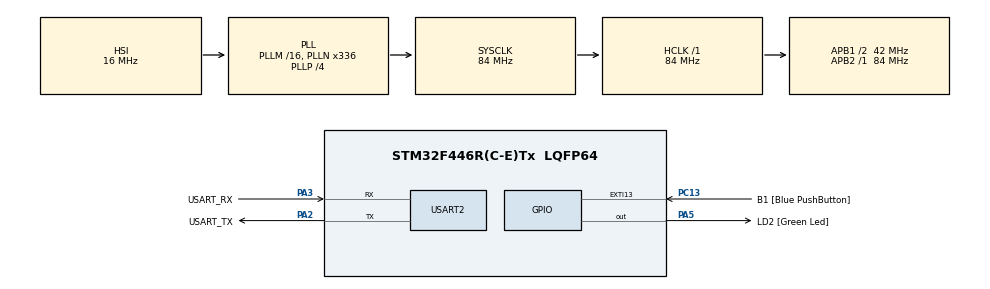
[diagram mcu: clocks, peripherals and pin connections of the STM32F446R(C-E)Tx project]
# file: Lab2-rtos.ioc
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ADC1.Channel-0\#ChannelRegularConversion=ADC_CHANNEL_TEMPSENSOR
ADC1.Channel-1\#ChannelRegularConversion=ADC_CHANNEL_TEMPSENSOR
ADC1.ClockPrescaler=ADC_CLOCK_SYNC_PCLK_DIV8
ADC1.ContinuousConvMode=ENABLE
ADC1.DMAContinuousRequests=ENABLE
ADC1.NbrOfConversion=2
ADC1.NbrOfConversionFlag=1
ADC1.Rank-0\#ChannelRegularConversion=1
ADC1.Rank-1\#ChannelRegularConversion=2
ADC1.SamplingTime-0\#ChannelRegularConversion=ADC_SAMPLETIME_480CYCLES
ADC1.SamplingTime-1\#ChannelRegularConversion=ADC_SAMPLETIME_480CYCLES
ADC1.ScanConvMode=ENABLE
ADC1.master=1
Dma.ADC1.0.Direction=DMA_PERIPH_TO_MEMORY
Dma.ADC1.0.FIFOMode=DMA_FIFOMODE_DISABLE
Dma.ADC1.0.Instance=DMA2_Stream0
Dma.ADC1.0.MemDataAlignment=DMA_MDATAALIGN_HALFWORD
Dma.ADC1.0.MemInc=DMA_MINC_ENABLE
Dma.ADC1.0.Mode=DMA_CIRCULAR
Dma.ADC1.0.PeriphDataAlignment=DMA_PDATAALIGN_HALFWORD
Dma.ADC1.0.PeriphInc=DMA_PINC_DISABLE
Dma.ADC1.0.Priority=DMA_PRIORITY_MEDIUM
Dma.Request0=ADC1
Dma.Request1=USART2_TX
Dma.Request2=USART2_RX
Dma.USART2_RX.2.Direction=DMA_PERIPH_TO_MEMORY
Dma.USART2_RX.2.FIFOMode=DMA_FIFOMODE_DISABLE
Dma.USART2_RX.2.Instance=DMA1_Stream5
Dma.USART2_RX.2.MemDataAlignment=DMA_MDATAALIGN_BYTE
Dma.USART2_RX.2.MemInc=DMA_MINC_ENABLE
Dma.USART2_RX.2.Mode=DMA_NORMAL
Dma.USART2_RX.2.PeriphDataAlignment=DMA_PDATAALIGN_BYTE
Dma.USART2_RX.2.PeriphInc=DMA_PINC_DISABLE
Dma.USART2_RX.2.Priority=DMA_PRIORITY_LOW
Dma.USART2_TX.1.Direction=DMA_MEMORY_TO_PERIPH
Dma.USART2_TX.1.FIFOMode=DMA_FIFOMODE_ENABLE
Dma.USART2_TX.1.FIFOThreshold=DMA_FIFO_THRESHOLD_FULL
Dma.USART2_TX.1.Instance=DMA1_Stream6
Dma.USART2_TX.1.MemBurst=DMA_MBURST_SINGLE
Dma.USART2_TX.1.MemDataAlignment=DMA_MDATAALIGN_BYTE
Dma.USART2_TX.1.MemInc=DMA_MINC_ENABLE
Dma.USART2_TX.1.Mode=DMA_NORMAL
Dma.USART2_TX.1.PeriphBurst=DMA_PBURST_SINGLE
Dma.USART2_TX.1.PeriphDataAlignment=DMA_PDATAALIGN_BYTE
Dma.USART2_TX.1.PeriphInc=DMA_PINC_DISABLE
Dma.USART2_TX.1.Priority=DMA_PRIORITY_MEDIUM
FREERTOS.Tasks01=blink01,0,128,StartBlink01,Default,NULL,Dynamic,NULL,NULL;send_data,0,128,send_data_func,Default,NULL,Dynamic,NULL,NULL
FREERTOS.Timers01=periodicTimer,PTCallback,osTimerPeriodic,Default,NULL,Dynamic,NULL
FREERTOS.configTIMER_TASK_PRIORITY=6
FREERTOS.configUSE_NEWLIB_REENTRANT=1
FREERTOS.configUSE_TIMERS=0
Mcu.Family=STM32F4
Mcu.Name=STM32F446R(C-E)Tx
Mcu.Package=LQFP64
NVIC.DMA1_Stream5_IRQn=true\:5\:0\:false\:false\:true\:true\:false\:true\:true
NVIC.DMA1_Stream6_IRQn=true\:5\:0\:false\:false\:true\:true\:false\:true\:true
NVIC.DMA2_Stream0_IRQn=true\:5\:0\:false\:false\:true\:true\:false\:true\:true
NVIC.EXTI15_10_IRQn=true\:5\:0\:false\:false\:true\:true\:true\:true\:true
NVIC.PriorityGroup=NVIC_PRIORITYGROUP_4
NVIC.TIM1_UP_TIM10_IRQn=true\:15\:0\:false\:false\:true\:false\:false\:true\:true
NVIC.TIM2_IRQn=true\:5\:0\:false\:false\:true\:true\:true\:true\:true
NVIC.TimeBase=TIM1_UP_TIM10_IRQn
NVIC.TimeBaseIP=TIM1
PA13.GPIO_Label=TMS
PA13.Mode=Serial_Wire
PA13.Signal=SYS_JTMS-SWDIO
PA14.GPIO_Label=TCK
PA14.Mode=Serial_Wire
PA14.Signal=SYS_JTCK-SWCLK
PA2.GPIO_Label=USART_TX
PA2.Mode=Asynchronous
PA2.Signal=USART2_TX
PA3.GPIO_Label=USART_RX
PA3.Mode=Asynchronous
PA3.Signal=USART2_RX
PA5.GPIO_Label=LD2 [Green Led]
PA5.Signal=GPIO_Output
PB3.GPIO_Label=SWO
PB3.Signal=SYS_JTDO-SWO
PC13.GPIO_Label=B1 [Blue PushButton]
PC13.GPIO_ModeDefaultEXTI=GPIO_MODE_IT_FALLING
PC13.Signal=GPXTI13
PC14-OSC32_IN.Mode=LSE-External-Oscillator
PC14-OSC32_IN.Signal=RCC_OSC32_IN
PC15-OSC32_OUT.Mode=LSE-External-Oscillator
PC15-OSC32_OUT.Signal=RCC_OSC32_OUT
PH0-OSC_IN.Mode=HSE-External-Oscillator
PH0-OSC_IN.Signal=RCC_OSC_IN
PH1-OSC_OUT.Mode=HSE-External-Oscillator
PH1-OSC_OUT.Signal=RCC_OSC_OUT
ProjectManager.HeapSize=0x200
ProjectManager.StackSize=0x400
ProjectManager.TargetToolchain=STM32CubeIDE
RCC.48MHZClocksFreq_Value=84000000
RCC.AHBFreq_Value=84000000
RCC.APB1CLKDivider=RCC_HCLK_DIV2
RCC.APB1Freq_Value=42000000
RCC.APB1TimFreq_Value=84000000
RCC.APB2Freq_Value=84000000
RCC.APB2TimFreq_Value=84000000
RCC.CortexFreq_Value=84000000
RCC.FLatency-AdvancedSettings=FLASH_LATENCY_2
RCC.HCLKFreq_Value=84000000
RCC.HSE_VALUE=8000000
RCC.HSI_VALUE=16000000
RCC.PLLN=336
RCC.PLLP=RCC_PLLP_DIV4
RCC.SYSCLKFreq_VALUE=84000000
RCC.SYSCLKSource=RCC_SYSCLKSOURCE_PLLCLK
RCC.USBFreq_Value=168000000
RCC.VCOOutputFreq_Value=336000000
TIM2.Period=10000
TIM2.Prescaler=7999
USART2.VirtualMode=VM_ASYNC
VP_ADC1_TempSens_Input.Mode=IN-TempSens
VP_FREERTOS_VS_CMSIS_V1.Mode=CMSIS_V1
VP_SYS_VS_tim1.Mode=TIM1
VP_TIM2_VS_ClockSourceINT.Mode=Internal
board=NUCLEO-F446RE

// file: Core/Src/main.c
/* USER CODE BEGIN Header */
/**
  ******************************************************************************
  * @file           : main.c
  * @brief          : Main program body
  ******************************************************************************
  * @attention
  *
  * Copyright (c) 2023 STMicroelectronics.
  * All rights reserved.
  *
  * This software is licensed under terms that can be found in the LICENSE file
  * in the root directory of this software component.
  * If no LICENSE file comes with this software, it is provided AS-IS.
  *
  ******************************************************************************
  */
/* USER CODE END Header */
#include "main.h"
#include "cmsis_os.h"

/* USER CODE BEGIN Includes */

//Initialization of global varaibles neede for code to work.
//Default blinking frequency
uint16_t blink_freq = 10;
//default period of time - later automatically calculated basing on freq
uint16_t period = 50;
//varaible of button state, changed to tru only by IRQ
uint8_t button_pressed = 0;

float temperature = 0;
/* USER CODE END Includes */

ADC_HandleTypeDef hadc1;
DMA_HandleTypeDef hdma_adc1;

TIM_HandleTypeDef htim2;

UART_HandleTypeDef huart2;
DMA_HandleTypeDef hdma_usart2_tx;
DMA_HandleTypeDef hdma_usart2_rx;

osThreadId blink01Handle;
osThreadId send_dataHandle;
/* USER CODE BEGIN PV */
uint16_t buf_temp[2];

/* USER CODE END PV */

void SystemClock_Config(void);
static void MX_GPIO_Init(void);
static void MX_DMA_Init(void);
static void MX_USART2_UART_Init(void);
static void MX_ADC1_Init(void);
static void MX_TIM2_Init(void);
void StartBlink01(void const * argument);
void send_data_func(void const * argument);

int main(void)
{

  /* MCU Configuration--------------------------------------------------------*/

  /* Reset of all peripherals, Initializes the Flash interface and the Systick. */
  HAL_Init();

  /* Configure the system clock */
  SystemClock_Config();

  /* Initialize all configured peripherals */
  MX_GPIO_Init();
  MX_DMA_Init();
  MX_USART2_UART_Init();
  MX_ADC1_Init();
  MX_TIM2_Init();
  /* USER CODE BEGIN 2 */

  HAL_TIM_Base_Start_IT(&htim2);
  HAL_ADC_Start_DMA(&hadc1, buf_temp, 2);
  /* USER CODE END 2 */

  /* Create the thread(s) */
  /* definition and creation of blink01 */
  osThreadDef(blink01, StartBlink01, osPriorityNormal, 0, 128);
  blink01Handle = osThreadCreate(osThread(blink01), NULL);

  /* definition and creation of send_data */
  osThreadDef(send_data, send_data_func, osPriorityNormal, 0, 128);
  send_dataHandle = osThreadCreate(osThread(send_data), NULL);

  /* Start scheduler */
  osKernelStart();

  /* We should never get here as control is now taken by the scheduler */
  /* Infinite loop */
  while (1)
  {

  }
}

void SystemClock_Config(void)
{
  RCC_OscInitTypeDef RCC_OscInitStruct = {0};
  RCC_ClkInitTypeDef RCC_ClkInitStruct = {0};

  /** Configure the main internal regulator output voltage
  */
  __HAL_RCC_PWR_CLK_ENABLE();
  __HAL_PWR_VOLTAGESCALING_CONFIG(PWR_REGULATOR_VOLTAGE_SCALE3);

  /** Initializes the RCC Oscillators according to the specified parameters
  * in the RCC_OscInitTypeDef structure.
  */
  RCC_OscInitStruct.OscillatorType = RCC_OSCILLATORTYPE_HSI;
  RCC_OscInitStruct.HSIState = RCC_HSI_ON;
  RCC_OscInitStruct.HSICalibrationValue = RCC_HSICALIBRATION_DEFAULT;
  RCC_OscInitStruct.PLL.PLLState = RCC_PLL_ON;
  RCC_OscInitStruct.PLL.PLLSource = RCC_PLLSOURCE_HSI;
  RCC_OscInitStruct.PLL.PLLM = 16;
  RCC_OscInitStruct.PLL.PLLN = 336;
  RCC_OscInitStruct.PLL.PLLP = RCC_PLLP_DIV4;
  RCC_OscInitStruct.PLL.PLLQ = 2;
  RCC_OscInitStruct.PLL.PLLR = 2;
  if (HAL_RCC_OscConfig(&RCC_OscInitStruct) != HAL_OK)
  {
    Error_Handler();
  }

  /** Initializes the CPU, AHB and APB buses clocks
  */
  RCC_ClkInitStruct.ClockType = RCC_CLOCKTYPE_HCLK|RCC_CLOCKTYPE_SYSCLK
                              |RCC_CLOCKTYPE_PCLK1|RCC_CLOCKTYPE_PCLK2;
  RCC_ClkInitStruct.SYSCLKSource = RCC_SYSCLKSOURCE_PLLCLK;
  RCC_ClkInitStruct.AHBCLKDivider = RCC_SYSCLK_DIV1;
  RCC_ClkInitStruct.APB1CLKDivider = RCC_HCLK_DIV2;
  RCC_ClkInitStruct.APB2CLKDivider = RCC_HCLK_DIV1;

  if (HAL_RCC_ClockConfig(&RCC_ClkInitStruct, FLASH_LATENCY_2) != HAL_OK)
  {
    Error_Handler();
  }
}

static void MX_ADC1_Init(void)
{

  ADC_ChannelConfTypeDef sConfig = {0};

  /** Configure the global features of the ADC (Clock, Resolution, Data Alignment and number of conversion)
  */
  hadc1.Instance = ADC1;
  hadc1.Init.ClockPrescaler = ADC_CLOCK_SYNC_PCLK_DIV8;
  hadc1.Init.Resolution = ADC_RESOLUTION_12B;
  hadc1.Init.ScanConvMode = ENABLE;
  hadc1.Init.ContinuousConvMode = ENABLE;
  hadc1.Init.DiscontinuousConvMode = DISABLE;
  hadc1.Init.ExternalTrigConvEdge = ADC_EXTERNALTRIGCONVEDGE_NONE;
  hadc1.Init.ExternalTrigConv = ADC_SOFTWARE_START;
  hadc1.Init.DataAlign = ADC_DATAALIGN_RIGHT;
  hadc1.Init.NbrOfConversion = 2;
  hadc1.Init.DMAContinuousRequests = ENABLE;
  hadc1.Init.EOCSelection = ADC_EOC_SINGLE_CONV;
  if (HAL_ADC_Init(&hadc1) != HAL_OK)
  {
    Error_Handler();
  }

  /** Configure for the selected ADC regular channel its corresponding rank in the sequencer and its sample time.
  */
  sConfig.Channel = ADC_CHANNEL_TEMPSENSOR;
  sConfig.Rank = 1;
  sConfig.SamplingTime = ADC_SAMPLETIME_480CYCLES;
  if (HAL_ADC_ConfigChannel(&hadc1, &sConfig) != HAL_OK)
  {
    Error_Handler();
  }

  /** Configure for the selected ADC regular channel its corresponding rank in the sequencer and its sample time.
  */
  sConfig.Rank = 2;
  if (HAL_ADC_ConfigChannel(&hadc1, &sConfig) != HAL_OK)
  {
    Error_Handler();
  }

}

static void MX_TIM2_Init(void)
{

  TIM_ClockConfigTypeDef sClockSourceConfig = {0};
  TIM_MasterConfigTypeDef sMasterConfig = {0};

  htim2.Instance = TIM2;
  htim2.Init.Prescaler = 7999;
  htim2.Init.CounterMode = TIM_COUNTERMODE_UP;
  htim2.Init.Period = 10000;
  htim2.Init.ClockDivision = TIM_CLOCKDIVISION_DIV1;
  htim2.Init.AutoReloadPreload = TIM_AUTORELOAD_PRELOAD_DISABLE;
  if (HAL_TIM_Base_Init(&htim2) != HAL_OK)
  {
    Error_Handler();
  }
  sClockSourceConfig.ClockSource = TIM_CLOCKSOURCE_INTERNAL;
  if (HAL_TIM_ConfigClockSource(&htim2, &sClockSourceConfig) != HAL_OK)
  {
    Error_Handler();
  }
  sMasterConfig.MasterOutputTrigger = TIM_TRGO_RESET;
  sMasterConfig.MasterSlaveMode = TIM_MASTERSLAVEMODE_DISABLE;
  if (HAL_TIMEx_MasterConfigSynchronization(&htim2, &sMasterConfig) != HAL_OK)
  {
    Error_Handler();
  }

}

static void MX_USART2_UART_Init(void)
{

  huart2.Instance = USART2;
  huart2.Init.BaudRate = 115200;
  huart2.Init.WordLength = UART_WORDLENGTH_8B;
  huart2.Init.StopBits = UART_STOPBITS_1;
  huart2.Init.Parity = UART_PARITY_NONE;
  huart2.Init.Mode = UART_MODE_TX_RX;
  huart2.Init.HwFlowCtl = UART_HWCONTROL_NONE;
  huart2.Init.OverSampling = UART_OVERSAMPLING_16;
  if (HAL_UART_Init(&huart2) != HAL_OK)
  {
    Error_Handler();
  }

}

static void MX_DMA_Init(void)
{

  /* DMA controller clock enable */
  __HAL_RCC_DMA2_CLK_ENABLE();
  __HAL_RCC_DMA1_CLK_ENABLE();

  /* DMA interrupt init */
  /* DMA1_Stream5_IRQn interrupt configuration */
  HAL_NVIC_SetPriority(DMA1_Stream5_IRQn, 5, 0);
  HAL_NVIC_EnableIRQ(DMA1_Stream5_IRQn);
  /* DMA1_Stream6_IRQn interrupt configuration */
  HAL_NVIC_SetPriority(DMA1_Stream6_IRQn, 5, 0);
  HAL_NVIC_EnableIRQ(DMA1_Stream6_IRQn);
  /* DMA2_Stream0_IRQn interrupt configuration */
  HAL_NVIC_SetPriority(DMA2_Stream0_IRQn, 5, 0);
  HAL_NVIC_EnableIRQ(DMA2_Stream0_IRQn);

}

static void MX_GPIO_Init(void)
{
  GPIO_InitTypeDef GPIO_InitStruct = {0};

  /* GPIO Ports Clock Enable */
  __HAL_RCC_GPIOC_CLK_ENABLE();
  __HAL_RCC_GPIOH_CLK_ENABLE();
  __HAL_RCC_GPIOA_CLK_ENABLE();
  __HAL_RCC_GPIOB_CLK_ENABLE();

  /*Configure GPIO pin Output Level */
  HAL_GPIO_WritePin(LD2_GPIO_Port, LD2_Pin, GPIO_PIN_RESET);

  /*Configure GPIO pin : B1_Pin */
  GPIO_InitStruct.Pin = B1_Pin;
  GPIO_InitStruct.Mode = GPIO_MODE_IT_FALLING;
  GPIO_InitStruct.Pull = GPIO_NOPULL;
  HAL_GPIO_Init(B1_GPIO_Port, &GPIO_InitStruct);

  /*Configure GPIO pin : LD2_Pin */
  GPIO_InitStruct.Pin = LD2_Pin;
  GPIO_InitStruct.Mode = GPIO_MODE_OUTPUT_PP;
  GPIO_InitStruct.Pull = GPIO_NOPULL;
  GPIO_InitStruct.Speed = GPIO_SPEED_FREQ_LOW;
  HAL_GPIO_Init(LD2_GPIO_Port, &GPIO_InitStruct);

  /* EXTI interrupt init*/
  HAL_NVIC_SetPriority(EXTI15_10_IRQn, 5, 0);
  HAL_NVIC_EnableIRQ(EXTI15_10_IRQn);

}

/* USER CODE BEGIN 4 */
void HAL_GPIO_EXTI_Callback(uint16_t GPIO_Pin)
{
	//if callback was called by gpio pin corresponding to button varaible state will change
  if(GPIO_Pin == B1_Pin) {
	  button_pressed = 1;

  }
}
/* USER CODE END 4 */

void StartBlink01(void const * argument)
{
  /* USER CODE BEGIN 5 */

  /* Infinite loop */
  for(;;)
  {
	  //This code check if the temperature of microcotroller is above 22 celsius deegress
	  //if it is - it turns on green LED
	  //it can be easilly checked by touching microcontroller with finger to heat it up.
	  // value of temperature is get and calculated in the hardware timer IRQ
	  //HAL_ADC_PollForConversion(&hadc1, 1);
	 	  //uint16_t raw = HAL_ADC_GetValue(&hadc1);
	 	  //HAL_ADC_Stop(&hadc1);
	 float vsense = (3.3 * buf_temp[0] )/4095;
	 	  temperature = ((vsense) - 0.76)/(0.0025) + 25;

	  if(temperature > 22.0)
		  HAL_GPIO_WritePin(LD2_GPIO_Port, LD2_Pin,GPIO_PIN_SET);
	  else
		  HAL_GPIO_WritePin(LD2_GPIO_Port, LD2_Pin,GPIO_PIN_RESET);
	  // calculate period in loop to adjust when varaible blink_freq is changed.
	  //period = 1000/(blink_freq*2);
	  //toggle LED
float test = temperature;
	  // delay for rtos - when to call function next time. It does not block running of uC.
	  osDelay(1000);
  }
  osThreadTerminate(NULL);
  /* USER CODE END 5 */
}

void send_data_func(void const * argument)
{
  /* USER CODE BEGIN send_data_func */
  /* Infinite loop */
	float temp_temperature=0;

	static uint16_t cnt = 0; // Licznik wyslanych wiadomosci
	 uint8_t data[100];// Tablica przechowujaca wysylana wiadomosc.
	 uint16_t size = 0; // Rozmiar wysylanej wiadomosci ++cnt; // Zwiekszenie licznika wyslanych wiadomosci.

  for(;;)
  {
	  HAL_UART_Abort(&huart2);
	  if (HAL_UART_Init(&huart2) != HAL_OK)
	  {
	    Error_Handler();
	  }
	  if(temperature!=0){
	   temp_temperature = temperature;
	   //DMA1->HIFCR = DMA_HIFCR_CTCIF6 | DMA_HIFCR_CHTIF6 | DMA_HIFCR_CTEIF6 | DMA_HIFCR_CDMEIF6 | DMA_HIFCR_CFEIF6; // clear DMA flags

	  //data[0]=temp_temperature;
	  uint16_t tere = temp_temperature;
	 	 size = sprintf(data, "Temperatura %d \n\r", tere); // Stworzenie wiadomosci do wyslania oraz przypisanie ilosci wysylanych znakow do zmiennej size.
	 	//HAL_UART_Transmit_IT(&huart2, data, size); // Rozpoczecie nadawania danych z wykorzystaniem przerwan

	 		HAL_UART_Transmit_DMA(&huart2, data, size); // Ro
	 		//HAL_UART_Transmit_DMA(&huart2, data[0], 1); // Ro
	 	  //HAL_GPIO_TogglePin(LD2_GPIO_Port, LD2_Pin); // Zmiana stanu pinu na diodzie LED
	  }
    osDelay(2000);
  }
  osThreadTerminate(NULL);
  /* USER CODE END send_data_func */
}

void HAL_TIM_PeriodElapsedCallback(TIM_HandleTypeDef *htim)
{
  if (htim->Instance == TIM1) {
    HAL_IncTick();
  }
}

void Error_Handler(void)
{
  __disable_irq();
  while (1)
  {
  }
}
